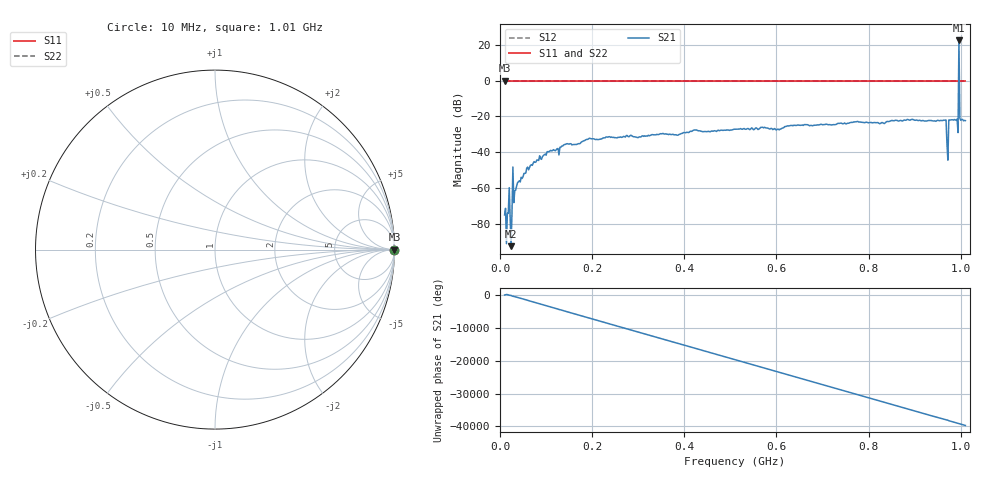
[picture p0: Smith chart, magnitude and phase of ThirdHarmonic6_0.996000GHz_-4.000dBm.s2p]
! 8/16/2025 7:57:36 AM
! C:\ANRITSUVNA\TEMP\TEMP.S2P
! CHANNEL.1
! TR.MEASUREMENT
! RAW.DATA
! RF.CORRECTION.OFF
! AVERAGING.OFF
! IF.BANDWIDTH: 5KHZ
! SWEEPTYPE:  FREQ.SWEEP(Linear)
! Reference Plane Port Info
! PORT:  PORT1  PORT2
! DISTANCE:  0  m  0  m
! TIME:  0  s  0  s
! PHASE.OFFSET:  0  deg.  0  deg.
! LOSS:  0  dB  0  dB
! REF.LOSS:  0  dB  0  dB
! REF.FREQ:  0  Hz  0  Hz
! Power Info
! POWER:  -20  dBm  -20  dBm
! EFF.POWER:  -20  dBm  -20  dBm
! SOURCE.ATTEN:  0  dB  0  dB
! TEST.ATTEN:  0  dB  0  dB
# GHZ S RI R 50.0
! FREQ.GHZ  S11RE  S11IM  S21RE  S21IM  S12RE  S12IM  S22RE  S22IM
!; PortSelection: Port_12
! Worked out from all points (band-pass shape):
!   501 points, 10 MHz to 1.01 GHz, reference 50 ohm
!   highest |S21| = 22.56 dB at 996 MHz (marker M1); lowest = -92.7 dB at 24 MHz (marker M2)
!   |S21| within 3 dB of the highest: 995.8837 MHz to 996.1377 MHz (254 kHz wide, 0.0255 % of centre)
!   lowest |S11| = 0.0 dB at 10 MHz (marker M3)
!   |S11| at or under -10 dB: nowhere
!   |S22| runs from 0.0 to 0.0 dB; largest |S21 - S12| = 13
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0.01  1 0  -0.000148 9.2e-05  1 0  1 0
0.022  1 0  0.000149 -1.3e-06  1 0  1 0
0.024  1 0  2.3e-05 3.6e-06  1 0  1 0
0.026  1 0  -0.000175 -8.72e-05  1 0  1 0
0.032  1 0  0.000804 -0.00018  1 0  1 0
0.07  1 0  -0.00126 -0.00407  1 0  1 0
0.106  1 0  -0.00755 -0.00695  1 0  1 0
0.178  1 0  -0.019 -0.00515  1 0  1 0
0.344  1 0  0.0306 -0.00507  1 0  1 0
0.51  1 0  -0.0424 0.0118  1 0  1 0
0.678  1 0  -0.0179 -0.0519  1 0  1 0
0.844  1 0  0.0395 0.0602  1 0  1 0
0.964  1 0  -0.0109 -0.0783  1 0  1 0
0.968  1 0  -0.0162 0.0779  1 0  1 0
0.974  1 0  -0.0624 -0.0496  1 0  1 0
0.978  1 0  0.0434 0.067  1 0  1 0
0.99  1 0  0.0365 -0.0719  1 0  1 0
0.992  1 0  -0.0665 -0.0511  1 0  1 0
0.996  1 0  11.79 6.427  1 0  1 0
1  1 0  -0.0263 -0.0734  1 0  1 0
1.002  1 0  -0.0813 0.014  1 0  1 0
1.01  1 0  -0.0689 -0.0331  1 0  1 0
